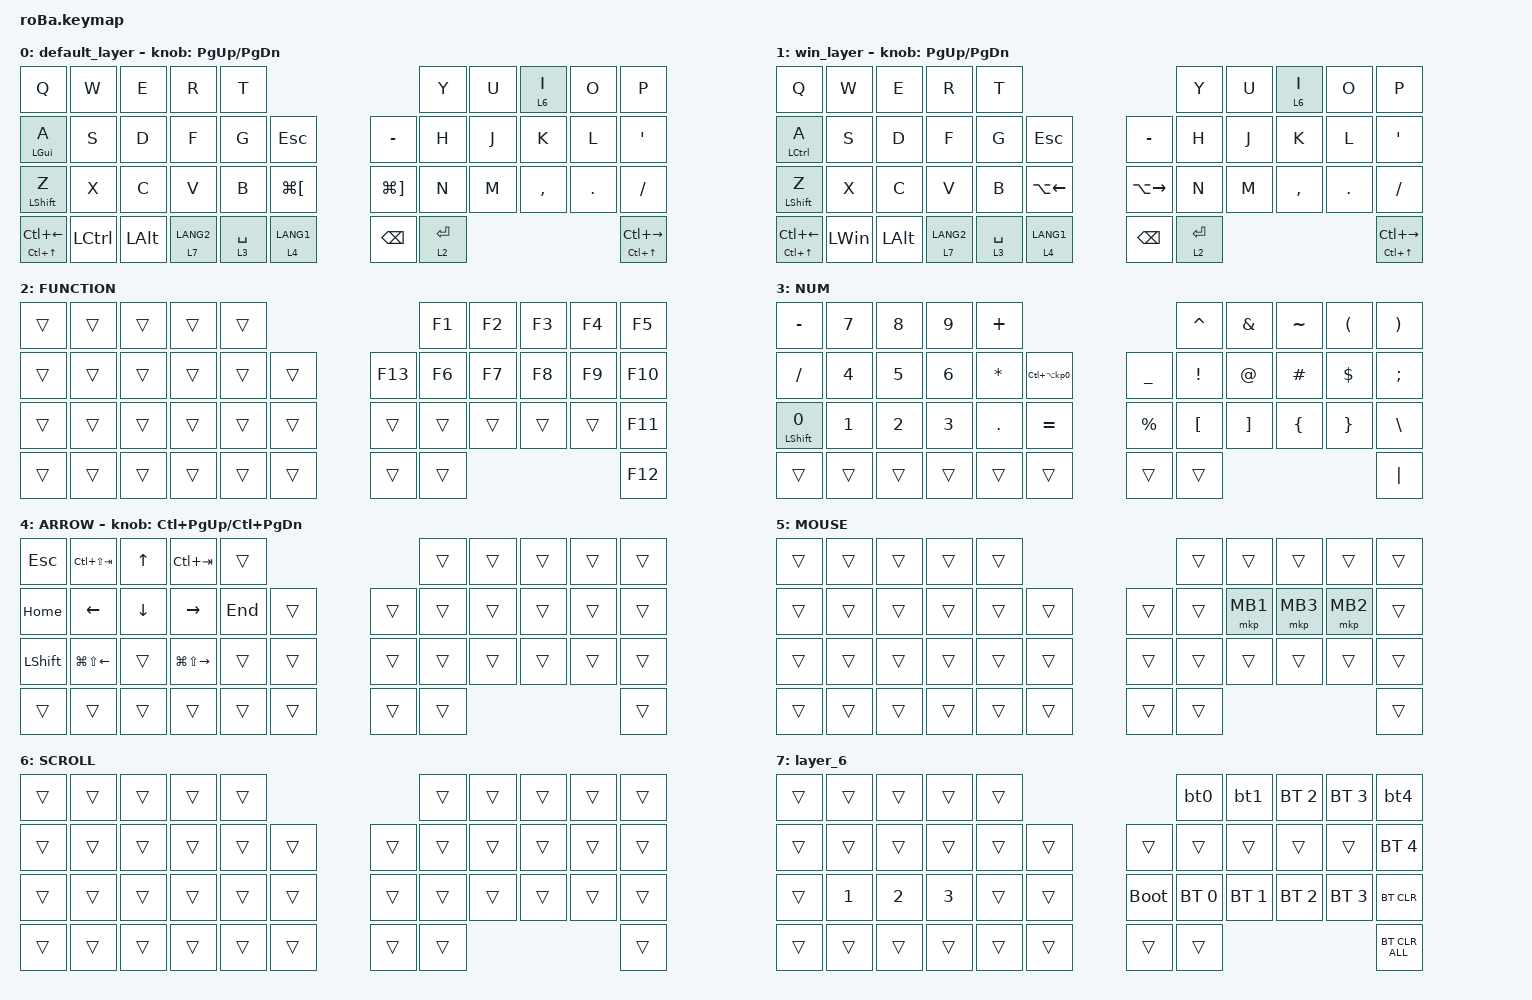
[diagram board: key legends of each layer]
#include <behaviors.dtsi>
#include <dt-bindings/zmk/bt.h>
#include <dt-bindings/zmk/keys.h>
#include <dt-bindings/zmk/pointing.h>

#define MOUSE 4
#define SCROLL 5
#define NUM 6

&mt {
    flavor = "balanced";
    quick-tap-ms = <0>;
};

/ {
    combos {
        compatible = "zmk,combos";

        tab {
            bindings = <&kp TAB>;
            key-positions = <11 12>;
        };

        shift_tab {
            bindings = <&kp LS(TAB)>;
            key-positions = <12 13>;
        };

        double_quotation {
            bindings = <&kp DOUBLE_QUOTES>;
            key-positions = <20 21>;
        };

        eq {
            bindings = <&kp EQUAL>;
            key-positions = <24 25>;
        };

        command-a {
            bindings = <&kp LG(A)>;
            key-positions = <10 11>;
            layers = <0 5 6>;
        };

        ctrol-a {
            bindings = <&kp LC(A)>;
            key-positions = <10 11>;
            layers = <1 6 5>;
        };

        command-shift-z {
            bindings = <&kp LG(LS(Z))>;
            key-positions = <10 22 23>;
            layers = <0>;
        };
    };

    macros {
        to_layer_0: to_layer_0 {
            compatible = "zmk,behavior-macro-one-param";
            #binding-cells = <1>;
            bindings = <&to 0 &macro_param_1to1 &kp MACRO_PLACEHOLDER>;
            label = "TO_LAYER_0";
        };

        bt0: bt0 {
            compatible = "zmk,behavior-macro";
            #binding-cells = <0>;
            bindings =
                <&tog_off 0 &tog_off 1>,
                <&macro_wait_time 200>,
                <&bt BT_SEL 0>,
                <&macro_wait_time 500>,
                <&tog_on 0>;

            label = "BT0";
        };

        bt1: bt1 {
            compatible = "zmk,behavior-macro";
            #binding-cells = <0>;
            bindings =
                <&tog_off 0 &tog_off 1>,
                <&macro_wait_time 200>,
                <&bt BT_SEL 1>,
                <&macro_wait_time 500>,
                <&tog_on 1>;

            label = "BT1";
        };

        to_layer_1: to_layer_1 {
            compatible = "zmk,behavior-macro-one-param";
            #binding-cells = <1>;
            bindings = <&to 1 &macro_param_1to1 &kp MACRO_PLACEHOLDER>;
            label = "TO_LAYER_1";
        };

        bt4: bt4 {
            compatible = "zmk,behavior-macro";
            #binding-cells = <0>;
            bindings =
                <&tog_off 0 &tog_off 1>,
                <&macro_wait_time 200>,
                <&bt BT_SEL 4>,
                <&macro_wait_time 500>,
                <&tog_on 1>;

            label = "BT4";
        };
    };

    behaviors {
        lt_to_layer_0: lt_to_layer_0 {
            compatible = "zmk,behavior-hold-tap";
            label = "LAYER_TAP_TO_0";
            bindings = <&mo>, <&to_layer_0>;

            #binding-cells = <2>;
            tapping-term-ms = <200>;
        };

        tog_on: toggle_layer_on_only {
            compatible = "zmk,behavior-toggle-layer";
            #binding-cells = <1>;
            display-name = "Toggle Layer On";
            toggle-mode = "on";
        };

        tog_off: toggle_layer_off_only {
            compatible = "zmk,behavior-toggle-layer";
            #binding-cells = <1>;
            display-name = "Toggle Layer Off";
            toggle-mode = "off";
        };

        lt_to_layer_1: lt_to_layer_1 {
            compatible = "zmk,behavior-hold-tap";
            label = "LAYER_TAP_TO_1";
            bindings = <&mo>, <&to_layer_1>;

            #binding-cells = <2>;
            tapping-term-ms = <200>;
        };
    };

    keymap {
        compatible = "zmk,keymap";

        default_layer {
            bindings = <
&kp Q                            &kp W      &kp E         &kp R                   &kp T                                                   &kp Y        &kp U  &lt 6 I    &kp O    &kp P
&mt LEFT_GUI A                   &kp S      &kp D         &kp F                   &kp G        &kp ESC                     &kp MINUS      &kp H        &kp J  &kp K      &kp L    &kp SQT
&mt LEFT_SHIFT Z                 &kp X      &kp C         &kp V                   &kp B        &kp LG(LBKT)                &kp LG(RBKT)   &kp N        &kp M  &kp COMMA  &kp DOT  &kp SLASH
&mt LC(UP_ARROW) LC(LEFT_ARROW)  &kp LCTRL  &kp LEFT_ALT  &lt_to_layer_0 7 LANG2  &lt 3 SPACE  &lt_to_layer_0 4 LANG1      &kp BACKSPACE  &lt 2 ENTER                             &mt LC(UP_ARROW) LC(RIGHT_ARROW)
            >;

            sensor-bindings = <&inc_dec_kp PG_UP PAGE_DOWN>;
        };

        win_layer {
            bindings = <
&kp Q                            &kp W         &kp E         &kp R                   &kp T                                                         &kp Y        &kp U  &lt 6 I    &kp O    &kp P
&mt LCTRL A                      &kp S         &kp D         &kp F                   &kp G        &kp ESC                     &kp MINUS            &kp H        &kp J  &kp K      &kp L    &kp SQT
&mt LEFT_SHIFT Z                 &kp X         &kp C         &kp V                   &kp B        &kp LA(LEFT_ARROW)          &kp LA(RIGHT_ARROW)  &kp N        &kp M  &kp COMMA  &kp DOT  &kp SLASH
&mt LC(UP_ARROW) LC(LEFT_ARROW)  &kp LEFT_WIN  &kp LEFT_ALT  &lt_to_layer_1 7 LANG2  &lt 3 SPACE  &lt_to_layer_1 4 LANG1      &kp BACKSPACE        &lt 2 ENTER                             &mt LC(UP_ARROW) LC(RIGHT_ARROW)
            >;

            sensor-bindings = <&inc_dec_kp PG_UP PAGE_DOWN>;
        };

        FUNCTION {
            bindings = <
&trans  &trans  &trans  &trans  &trans                       &kp F1  &kp F2  &kp F3  &kp F4  &kp F5
&trans  &trans  &trans  &trans  &trans  &trans      &kp F13  &kp F6  &kp F7  &kp F8  &kp F9  &kp F10
&trans  &trans  &trans  &trans  &trans  &trans      &trans   &trans  &trans  &trans  &trans  &kp F11
&trans  &trans  &trans  &trans  &trans  &trans      &trans   &trans                          &kp F12
            >;
        };

        NUM {
            bindings = <
&kp MINUS                &kp NUMBER_7  &kp NUMBER_8  &kp NUMBER_9  &kp PLUS                                                   &kp CARET         &kp AMPERSAND      &kp TILDE       &kp LEFT_PARENTHESIS  &kp RIGHT_PARENTHESIS
&kp SLASH                &kp NUMBER_4  &kp NUMBER_5  &kp NUMBER_6  &kp ASTERISK  &kp LC(LA(KP_NUMBER_0))      &kp UNDERSCORE  &kp EXCLAMATION   &kp AT_SIGN        &kp HASH        &kp DOLLAR            &kp SEMICOLON
&mt LEFT_SHIFT NUMBER_0  &kp NUMBER_1  &kp NUMBER_2  &kp NUMBER_3  &kp PERIOD    &kp EQUAL                    &kp PERCENT     &kp LEFT_BRACKET  &kp RIGHT_BRACKET  &kp LEFT_BRACE  &kp RIGHT_BRACE       &kp BACKSLASH
&trans                   &trans        &trans        &trans        &trans        &trans                       &trans          &trans                                                                     &kp PIPE
            >;
        };

        ARROW {
            bindings = <
&kp ESCAPE      &kp LC(LS(TAB))         &kp UP_ARROW    &kp LC(TAB)              &trans                       &trans  &trans  &trans  &trans  &trans
&kp HOME        &kp LEFT_ARROW          &kp DOWN_ARROW  &kp RIGHT_ARROW          &kp END  &trans      &trans  &trans  &trans  &trans  &trans  &trans
&kp LEFT_SHIFT  &kp LG(LS(LEFT_ARROW))  &trans          &kp LG(LS(RIGHT_ARROW))  &trans   &trans      &trans  &trans  &trans  &trans  &trans  &trans
&trans          &trans                  &trans          &trans                   &trans   &trans      &trans  &trans                          &trans
            >;

            sensor-bindings = <&inc_dec_kp LC(PAGE_UP) LC(PAGE_DOWN)>;
        };

        MOUSE {
            bindings = <
&trans  &trans  &trans  &trans  &trans                      &trans  &trans    &trans    &trans    &trans
&trans  &trans  &trans  &trans  &trans  &trans      &trans  &trans  &mkp MB1  &mkp MB3  &mkp MB2  &trans
&trans  &trans  &trans  &trans  &trans  &trans      &trans  &trans  &trans    &trans    &trans    &trans
&trans  &trans  &trans  &trans  &trans  &trans      &trans  &trans                                &trans
            >;
        };

        SCROLL {
            bindings = <
&trans  &trans  &trans  &trans  &trans                      &trans  &trans  &trans  &trans  &trans
&trans  &trans  &trans  &trans  &trans  &trans      &trans  &trans  &trans  &trans  &trans  &trans
&trans  &trans  &trans  &trans  &trans  &trans      &trans  &trans  &trans  &trans  &trans  &trans
&trans  &trans  &trans  &trans  &trans  &trans      &trans  &trans                          &trans
            >;
        };

        layer_6 {
            bindings = <
&trans  &trans        &trans        &trans        &trans                           &bt0          &bt1          &bt BT_SEL 2  &bt BT_SEL 3  &bt4
&trans  &trans        &trans        &trans        &trans  &trans      &trans       &trans        &trans        &trans        &trans        &bt BT_SEL 4
&trans  &kp NUMBER_1  &kp NUMBER_2  &kp NUMBER_3  &trans  &trans      &bootloader  &bt BT_SEL 0  &bt BT_SEL 1  &bt BT_SEL 2  &bt BT_SEL 3  &bt BT_CLR
&trans  &trans        &trans        &trans        &trans  &trans      &trans       &trans                                                  &bt BT_CLR_ALL
            >;
        };
    };
};
